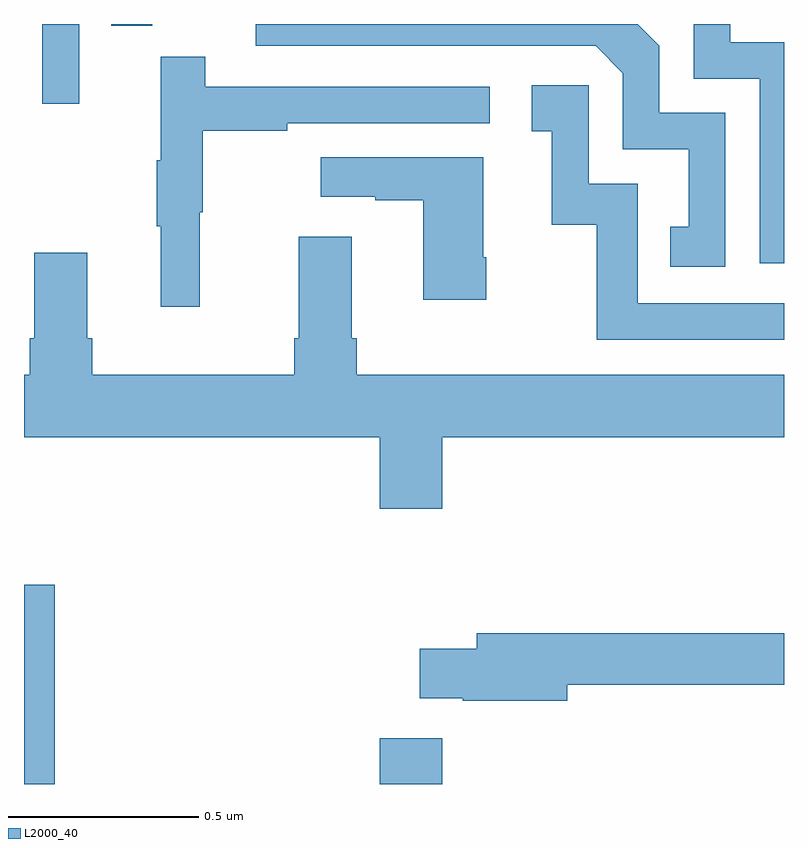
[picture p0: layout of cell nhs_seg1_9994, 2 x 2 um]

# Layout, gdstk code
import gdstk
lib = gdstk.Library(unit=1e-6, precision=1e-09)
def R(c, l, rs):  # rectangles x0, y0, x1, y1
    for r in rs: c.add(gdstk.rectangle(r[:2], r[2:], *l))
def P(c, l, *ps):  # polygons
    for p in ps: c.add(gdstk.Polygon(p, *l))
L2000_40 = (2000, 40)

nhs_seg1_9994 = lib.new_cell('nhs_seg1_9994')
R(nhs_seg1_9994, L2000_40, [(236,504.199,236.081,504.724), (236.936,504.199,237.1,504.319), (236.048,505.989,236.145,506.199), (236.23,506.194,236.338,506.199)])
P(nhs_seg1_9994, L2000_40, [(238,506.151),(237.859,506.151),(237.859,506.199),(237.762,506.199),(237.762,506.055),(237.936,506.055),(237.936,505.569),(238,505.569)],
  [(237.846,505.965),(237.672,505.965),(237.672,506.142),(237.615,506.199),(236.61,506.199),(236.61,506.142),(237.504,506.142),(237.576,506.07),(237.576,505.869),(237.749,505.869),(237.749,505.665),(237.7,505.665),(237.7,505.56),(237.846,505.56)],
  [(236.462,505.704),(236.47,505.704),(236.47,505.918),(236.693,505.918),(236.693,505.938),(237.226,505.938),(237.226,506.034),(236.477,506.034),(236.477,506.113),(236.36,506.113),(236.36,505.841),(236.349,505.841),(236.349,505.667),(236.36,505.667),(236.36,505.455),(236.462,505.455)],
  [(238,505.464),(237.615,505.464),(237.615,505.779),(237.486,505.779),(237.486,506.038),(237.336,506.038),(237.336,505.917),(237.389,505.917),(237.389,505.671),(237.507,505.671),(237.507,505.368),(238,505.368)],
  [(237.216,505.585),(237.208,505.585),(237.208,505.849),(236.781,505.849),(236.781,505.745),(236.924,505.745),(236.924,505.735),(237.05,505.735),(237.05,505.473),(237.216,505.473)],
  [(236.936,504.924),(237.1,504.924),(237.1,505.112),(238,505.112),(238,505.276),(236.876,505.276),(236.876,505.372),(236.863,505.372),(236.863,505.639),(236.723,505.639),(236.723,505.372),(236.711,505.372),(236.711,505.276),(236.18,505.276),(236.18,505.372),(236.167,505.372),(236.167,505.597),(236.027,505.597),(236.027,505.372),(236.015,505.372),(236.015,505.276),(236,505.276),(236,505.112),(236.936,505.112)],
  [(237.43,504.46),(238,504.46),(238,504.596),(237.191,504.596),(237.191,504.555),(237.042,504.555),(237.042,504.425),(237.154,504.425),(237.154,504.418),(237.43,504.418)])

lib.write_gds('nhs_seg1_9994.gds')
